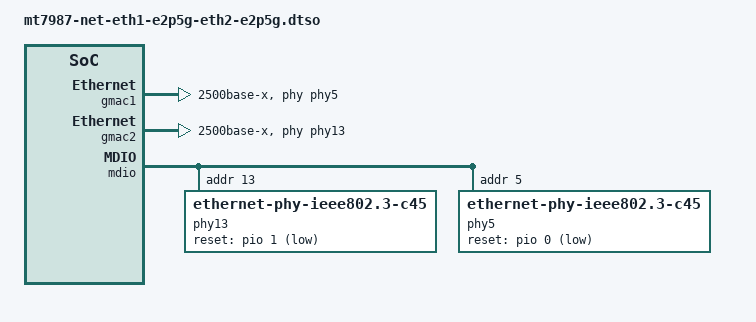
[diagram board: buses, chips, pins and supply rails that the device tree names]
// SPDX-License-Identifier: (GPL-2.0 OR MIT)

/dts-v1/;
/plugin/;

/ {
	fragment@0 {
		target = <&gmac1>;
		__overlay__ {
                        compatible = "mediatek,eth-mac";
                        reg = <1>;
                        mac-type = "gdm";
                        phy-mode = "2500base-x";
                        phy-handle = <&phy5>;
		};
	};

	fragment@1 {
		target = <&gmac2>;
		__overlay__ {
			compatible = "mediatek,eth-mac";
			reg = <2>;
		        mac-type = "gdm";
		        phy-mode = "2500base-x";
			phy-handle = <&phy13>;
		};
	};

	fragment@2 {
		target = <&mdio>;
		__overlay__ {
			phy13: phy@13 {
				compatible = "ethernet-phy-ieee802.3-c45";
				reg = <13>;
				reset-gpios = <&pio 1 1>;
				reset-assert-us = <600>;
				reset-deassert-us = <20000>;
			};

                        phy5: phy@5 {
                                compatible = "ethernet-phy-ieee802.3-c45";
                                reg = <5>;
                                reset-gpios = <&pio 0 1>;
                                reset-assert-us = <600>;
                                reset-deassert-us = <20000>;
                        };
		};
	};
};
